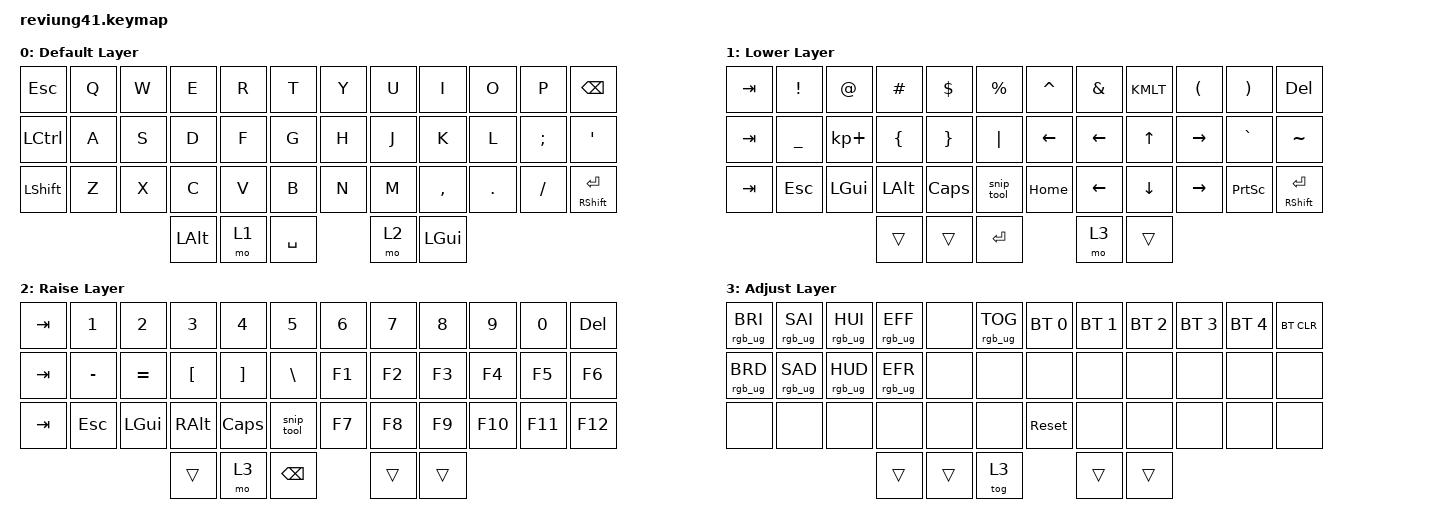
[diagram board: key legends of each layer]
/*
 * Copyright (c) 2020 The ZMK Contributors
 *
 * SPDX-License-Identifier: MIT
 */

#include <behaviors.dtsi>
#include <dt-bindings/zmk/keys.h>
#include <dt-bindings/zmk/bt.h>
#include <dt-bindings/zmk/rgb.h>

/ {
    /* -------- SNIP TOOL MACRO (Win + Shift + S) -------- */
    macros {
        snip_tool: snip_tool {
            compatible = "zmk,behavior-macro";
            #binding-cells = <0>;
            wait-ms = <20>;
            tap-ms = <20>;

            bindings = <
                &macro_press &kp LGUI
                &macro_press &kp LSHIFT

                &macro_tap &kp S

                &macro_release &kp LSHIFT
                &macro_release &kp LGUI
            >;
        };
    };

    keymap {
        compatible = "zmk,keymap";

        default_layer {
            display-name = "Default Layer";
            bindings = <
   &kp ESC   &kp Q &kp W &kp E &kp R &kp T   &kp Y &kp U  &kp I     &kp O   &kp P    &kp BSPC
   &kp LCTRL &kp A &kp S &kp D &kp F &kp G   &kp H &kp J  &kp K     &kp L   &kp SEMI &kp SQT
   &kp LSHFT &kp Z &kp X &kp C &kp V &kp B   &kp N &kp M  &kp COMMA &kp DOT &kp FSLH &mt RSHFT RET
                        &kp LALT  &mo 1 &kp SPACE &mo 2  &kp LGUI
            >;
        };

        lower_layer {
            display-name = "Lower Layer";
            bindings = <
   &kp TAB &kp EXCL  &kp AT      &kp HASH &kp DLLR &kp PRCNT      &kp CARET &kp AMPS &kp KMLT  &kp LPAR  &kp RPAR  &kp DEL
   &kp TAB &kp UNDER &kp KP_PLUS &kp LBRC &kp RBRC &kp PIPE       &kp LEFT  &kp LEFT &kp UP    &kp RIGHT &kp GRAVE &kp TILDE
   &kp TAB &kp ESC   &kp LGUI    &kp LALT &kp CLCK &snip_tool     &kp HOME  &kp LEFT &kp DOWN &kp RIGHT &kp PSCRN &mt RSHFT RET
                               &trans      &trans       &kp RET        &mo 3       &trans
            >;
        };

        raise_layer {
            display-name = "Raise Layer";
            bindings = <
   &kp TAB &kp N1    &kp N2    &kp N3    &kp N4    &kp N5        &kp N6    &kp N7    &kp N8    &kp N9    &kp N0    &kp DEL
   &kp TAB &kp MINUS &kp EQUAL &kp LBKT  &kp RBKT  &kp BSLH      &kp F1    &kp F2    &kp F3    &kp F4    &kp F5    &kp F6
   &kp TAB &kp ESC   &kp LGUI  &kp RALT  &kp CLCK  &snip_tool     &kp F7    &kp F8    &kp F9    &kp F10   &kp F11   &kp F12
                               &trans      &mo 3       &kp BSPC        &trans      &trans
            >;
        };

        adjust_layer {
            display-name = "Adjust Layer";
            bindings = <
   &rgb_ug RGB_BRI &rgb_ug RGB_SAI &rgb_ug RGB_HUI &rgb_ug RGB_EFF &none &rgb_ug RGB_TOG    &bt BT_SEL 0 &bt BT_SEL 1 &bt BT_SEL 2 &bt BT_SEL 3 &bt BT_SEL 4 &bt BT_CLR
   &rgb_ug RGB_BRD &rgb_ug RGB_SAD &rgb_ug RGB_HUD &rgb_ug RGB_EFR &none &none              &none        &none        &none        &none        &none        &none
   &none           &none           &none           &none           &none &none              &sys_reset   &none        &none        &none        &none        &none
                                            &trans      &trans       &tog 3        &trans      &trans
            >;
        };
    };
};
